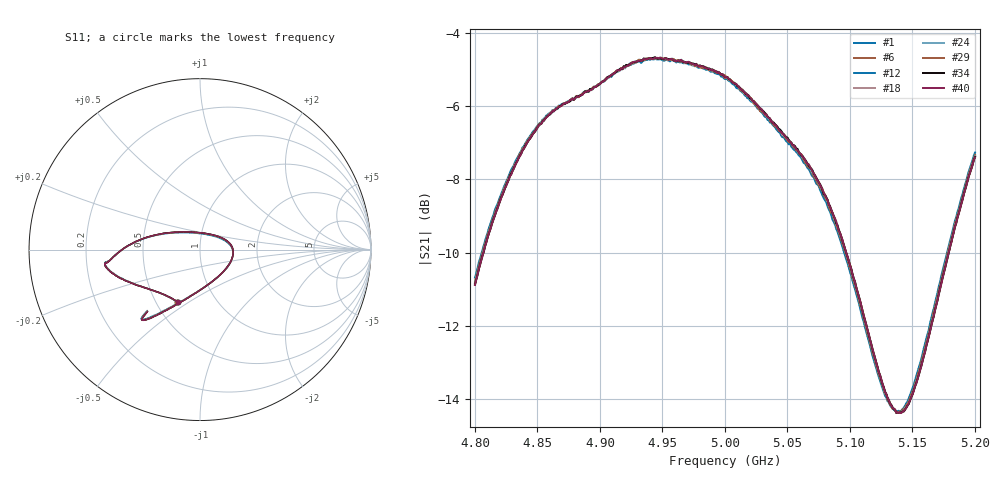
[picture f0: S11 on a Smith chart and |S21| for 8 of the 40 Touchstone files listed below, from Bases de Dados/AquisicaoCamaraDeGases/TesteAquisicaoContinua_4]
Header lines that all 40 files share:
! Network Analyzer HP8722D
! Hewlett-Packard
! Data name: Linha & Wilkinson
! Saver's name: Rodrigo Anjos
! Comments: Teste da utilização de aquisição
! continua pelo VNA HP8722D
!  Frequency  S11  S21  S12  S22
# HZ  S  MA R 50
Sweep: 4.8 GHz to 5.2 GHz
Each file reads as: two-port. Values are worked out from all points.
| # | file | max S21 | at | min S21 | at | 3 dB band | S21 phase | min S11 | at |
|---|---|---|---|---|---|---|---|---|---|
| 1 | teste_arseco&borbulhador_Acetona_10-80_0.S2P | -4.70 dB | 4.944 GHz | -14.4 dB | 5.137 GHz | 4.83 GHz-5.066 GHz | -111 deg at 5 GHz | -20.7 dB | 5.005 GHz |
| 2 | teste_arseco&borbulhador_Acetona_10-80_1.S2P | -4.70 dB | 4.944 GHz | -14.4 dB | 5.138 GHz | 4.83 GHz-5.066 GHz | -111 deg at 5 GHz | -20.7 dB | 5.005 GHz |
| 3 | teste_arseco&borbulhador_Acetona_10-80_2.S2P | -4.69 dB | 4.944 GHz | -14.4 dB | 5.137 GHz | 4.831 GHz-5.066 GHz | -111 deg at 5 GHz | -20.6 dB | 5.005 GHz |
| 4 | teste_arseco&borbulhador_Acetona_10-80_3.S2P | -4.70 dB | 4.941 GHz | -14.4 dB | 5.137 GHz | 4.831 GHz-5.067 GHz | -111 deg at 5 GHz | -20.5 dB | 5.005 GHz |
| 5 | teste_arseco&borbulhador_Acetona_10-80_4.S2P | -4.68 dB | 4.944 GHz | -14.4 dB | 5.137 GHz | 4.831 GHz-5.067 GHz | -111 deg at 5 GHz | -20.5 dB | 5.005 GHz |
| 6 | teste_arseco&borbulhador_Acetona_10-80_5.S2P | -4.67 dB | 4.944 GHz | -14.4 dB | 5.138 GHz | 4.831 GHz-5.067 GHz | -111 deg at 5 GHz | -20.4 dB | 5.004 GHz |
| 7 | teste_arseco&borbulhador_Acetona_10-80_6.S2P | -4.68 dB | 4.949 GHz | -14.4 dB | 5.139 GHz | 4.831 GHz-5.067 GHz | -111 deg at 5 GHz | -20.4 dB | 5.004 GHz |
| 8 | teste_arseco&borbulhador_Acetona_10-80_7.S2P | -4.67 dB | 4.944 GHz | -14.4 dB | 5.139 GHz | 4.832 GHz-5.067 GHz | -111 deg at 5 GHz | -20.3 dB | 5.005 GHz |
| 9 | teste_arseco&borbulhador_Acetona_10-80_8.S2P | -4.67 dB | 4.944 GHz | -14.4 dB | 5.139 GHz | 4.832 GHz-5.067 GHz | -111 deg at 5 GHz | -20.3 dB | 5.005 GHz |
| 10 | teste_arseco&borbulhador_Acetona_10-80_9.S2P | -4.68 dB | 4.943 GHz | -14.4 dB | 5.139 GHz | 4.832 GHz-5.067 GHz | -111 deg at 5 GHz | -20.3 dB | 5.005 GHz |
| 11 | teste_arseco&borbulhador_Acetona_10-80_10.S2P | -4.68 dB | 4.943 GHz | -14.4 dB | 5.139 GHz | 4.831 GHz-5.068 GHz | -111 deg at 5 GHz | -20.3 dB | 5.005 GHz |
| 12 | teste_arseco&borbulhador_Acetona_10-80_11.S2P | -4.69 dB | 4.943 GHz | -14.4 dB | 5.138 GHz | 4.831 GHz-5.067 GHz | -111 deg at 5 GHz | -20.3 dB | 5.005 GHz |
| 13 | teste_arseco&borbulhador_Acetona_10-80_12.S2P | -4.67 dB | 4.944 GHz | -14.4 dB | 5.139 GHz | 4.832 GHz-5.067 GHz | -111 deg at 5 GHz | -20.3 dB | 5.005 GHz |
| 14 | teste_arseco&borbulhador_Acetona_10-80_13.S2P | -4.67 dB | 4.944 GHz | -14.4 dB | 5.137 GHz | 4.832 GHz-5.067 GHz | -111 deg at 5 GHz | -20.2 dB | 5.005 GHz |
| 15 | teste_arseco&borbulhador_Acetona_10-80_14.S2P | -4.67 dB | 4.941 GHz | -14.4 dB | 5.141 GHz | 4.832 GHz-5.067 GHz | -111 deg at 5 GHz | -20.3 dB | 5.005 GHz |
| 16 | teste_arseco&borbulhador_Acetona_10-80_15.S2P | -4.67 dB | 4.944 GHz | -14.4 dB | 5.137 GHz | 4.832 GHz-5.067 GHz | -111 deg at 5 GHz | -20.3 dB | 5.005 GHz |
| 17 | teste_arseco&borbulhador_Acetona_10-80_16.S2P | -4.68 dB | 4.944 GHz | -14.4 dB | 5.139 GHz | 4.832 GHz-5.068 GHz | -111 deg at 5 GHz | -20.2 dB | 5.005 GHz |
| 18 | teste_arseco&borbulhador_Acetona_10-80_17.S2P | -4.68 dB | 4.949 GHz | -14.4 dB | 5.138 GHz | 4.832 GHz-5.067 GHz | -111 deg at 5 GHz | -20.2 dB | 5.005 GHz |
| 19 | teste_arseco&borbulhador_Acetona_10-80_18.S2P | -4.67 dB | 4.941 GHz | -14.4 dB | 5.14 GHz | 4.832 GHz-5.067 GHz | -111 deg at 5 GHz | -20.2 dB | 5.005 GHz |
| 20 | teste_arseco&borbulhador_Acetona_10-80_19.S2P | -4.65 dB | 4.944 GHz | -14.4 dB | 5.14 GHz | 4.832 GHz-5.067 GHz | -111 deg at 5 GHz | -20.2 dB | 5.005 GHz |
| 21 | teste_arseco&borbulhador_Acetona_10-80_20.S2P | -4.67 dB | 4.947 GHz | -14.4 dB | 5.138 GHz | 4.832 GHz-5.068 GHz | -111 deg at 5 GHz | -20.2 dB | 5.005 GHz |
| 22 | teste_arseco&borbulhador_Acetona_10-80_21.S2P | -4.67 dB | 4.949 GHz | -14.4 dB | 5.138 GHz | 4.832 GHz-5.067 GHz | -111 deg at 5 GHz | -20.2 dB | 5.005 GHz |
| 23 | teste_arseco&borbulhador_Acetona_10-80_22.S2P | -4.67 dB | 4.944 GHz | -14.4 dB | 5.14 GHz | 4.832 GHz-5.068 GHz | -111 deg at 5 GHz | -20.2 dB | 5.005 GHz |
| 24 | teste_arseco&borbulhador_Acetona_10-80_23.S2P | -4.67 dB | 4.944 GHz | -14.4 dB | 5.141 GHz | 4.832 GHz-5.068 GHz | -111 deg at 5 GHz | -20.2 dB | 5.005 GHz |
| 25 | teste_arseco&borbulhador_Acetona_10-80_24.S2P | -4.67 dB | 4.941 GHz | -14.4 dB | 5.139 GHz | 4.832 GHz-5.068 GHz | -111 deg at 5 GHz | -20.2 dB | 5.005 GHz |
| 26 | teste_arseco&borbulhador_Acetona_10-80_25.S2P | -4.68 dB | 4.944 GHz | -14.4 dB | 5.139 GHz | 4.832 GHz-5.067 GHz | -111 deg at 5 GHz | -20.2 dB | 5.005 GHz |
| 27 | teste_arseco&borbulhador_Acetona_10-80_26.S2P | -4.65 dB | 4.944 GHz | -14.4 dB | 5.141 GHz | 4.832 GHz-5.067 GHz | -111 deg at 5 GHz | -20.2 dB | 5.005 GHz |
| 28 | teste_arseco&borbulhador_Acetona_10-80_27.S2P | -4.67 dB | 4.949 GHz | -14.4 dB | 5.141 GHz | 4.832 GHz-5.067 GHz | -111 deg at 5 GHz | -20.2 dB | 5.004 GHz |
| 29 | teste_arseco&borbulhador_Acetona_10-80_28.S2P | -4.68 dB | 4.947 GHz | -14.4 dB | 5.141 GHz | 4.832 GHz-5.067 GHz | -111 deg at 5 GHz | -20.2 dB | 5.005 GHz |
| 30 | teste_arseco&borbulhador_Acetona_10-80_29.S2P | -4.67 dB | 4.949 GHz | -14.4 dB | 5.138 GHz | 4.832 GHz-5.067 GHz | -111 deg at 5 GHz | -20.2 dB | 5.007 GHz |
| 31 | teste_arseco&borbulhador_Acetona_10-80_30.S2P | -4.66 dB | 4.948 GHz | -14.4 dB | 5.141 GHz | 4.832 GHz-5.067 GHz | -111 deg at 5 GHz | -20.2 dB | 5.007 GHz |
| 32 | teste_arseco&borbulhador_Acetona_10-80_31.S2P | -4.68 dB | 4.944 GHz | -14.4 dB | 5.141 GHz | 4.832 GHz-5.067 GHz | -111 deg at 5 GHz | -20.2 dB | 5.005 GHz |
| 33 | teste_arseco&borbulhador_Acetona_10-80_32.S2P | -4.68 dB | 4.943 GHz | -14.4 dB | 5.141 GHz | 4.832 GHz-5.068 GHz | -111 deg at 5 GHz | -20.2 dB | 5.005 GHz |
| 34 | teste_arseco&borbulhador_Acetona_10-80_33.S2P | -4.66 dB | 4.944 GHz | -14.4 dB | 5.137 GHz | 4.832 GHz-5.067 GHz | -111 deg at 5 GHz | -20.2 dB | 5.005 GHz |
| 35 | teste_arseco&borbulhador_Acetona_10-80_34.S2P | -4.67 dB | 4.951 GHz | -14.4 dB | 5.139 GHz | 4.832 GHz-5.068 GHz | -111 deg at 5 GHz | -20.2 dB | 5.006 GHz |
| 36 | teste_arseco&borbulhador_Acetona_10-80_35.S2P | -4.67 dB | 4.944 GHz | -14.4 dB | 5.141 GHz | 4.832 GHz-5.067 GHz | -111 deg at 5 GHz | -20.2 dB | 5.005 GHz |
| 37 | teste_arseco&borbulhador_Acetona_10-80_36.S2P | -4.66 dB | 4.944 GHz | -14.4 dB | 5.139 GHz | 4.832 GHz-5.068 GHz | -111 deg at 5 GHz | -20.2 dB | 5.005 GHz |
| 38 | teste_arseco&borbulhador_Acetona_10-80_37.S2P | -4.67 dB | 4.948 GHz | -14.4 dB | 5.141 GHz | 4.832 GHz-5.068 GHz | -111 deg at 5 GHz | -20.2 dB | 5.005 GHz |
| 39 | teste_arseco&borbulhador_Acetona_10-80_38.S2P | -4.67 dB | 4.943 GHz | -14.4 dB | 5.14 GHz | 4.832 GHz-5.068 GHz | -111 deg at 5 GHz | -20.1 dB | 5.005 GHz |
| 40 | teste_arseco&borbulhador_Acetona_10-80_39.S2P | -4.67 dB | 4.948 GHz | -14.4 dB | 5.141 GHz | 4.832 GHz-5.068 GHz | -111 deg at 5 GHz | -20.2 dB | 5.007 GHz |
